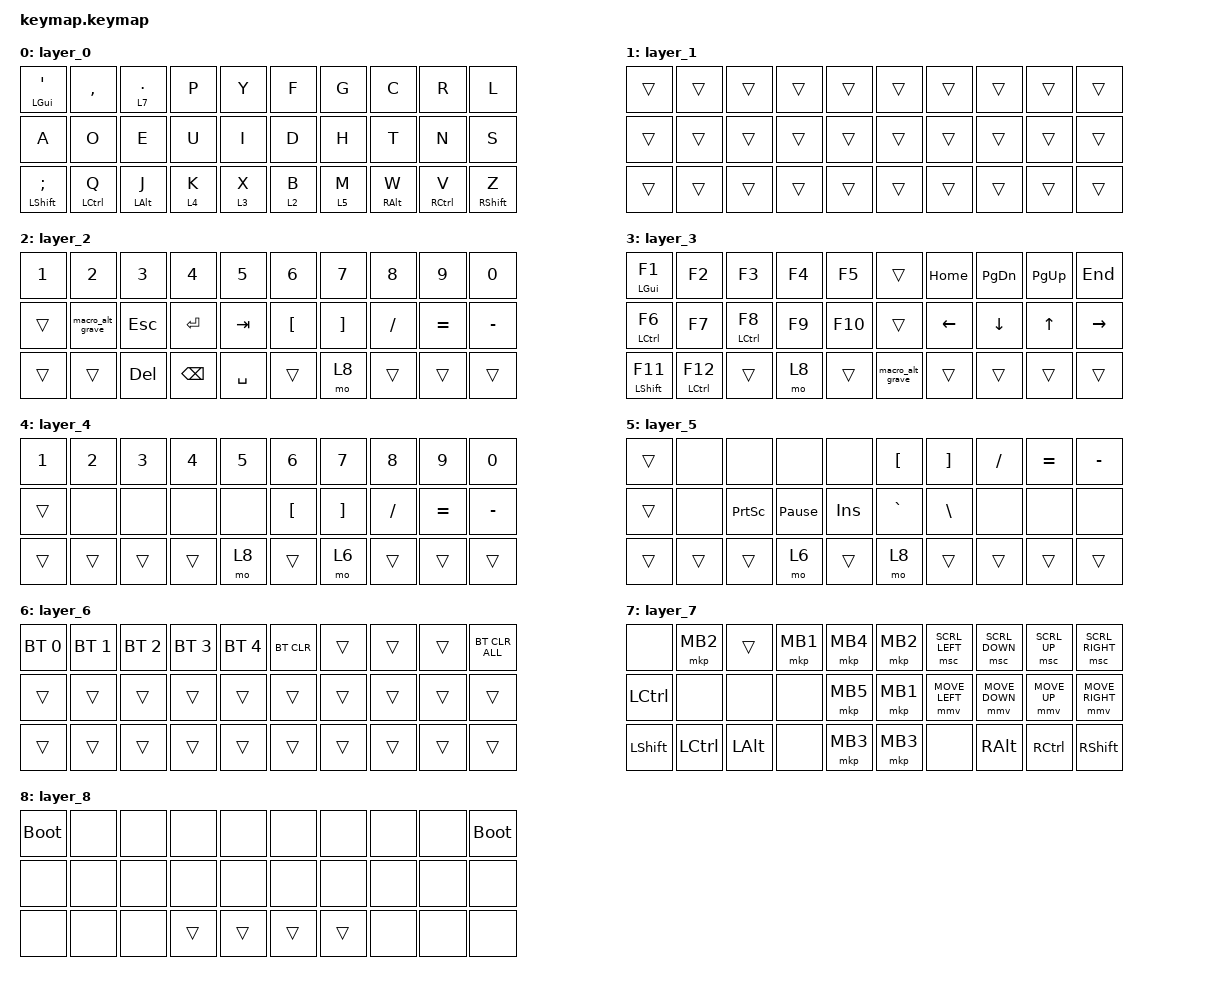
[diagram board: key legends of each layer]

#include <behaviors.dtsi>
#include <dt-bindings/zmk/keys.h>
#include <dt-bindings/zmk/bt.h>
#include <dt-bindings/zmk/pointing.h>

#define ZMK_POINTING_DEFAULT_MOVE_VAL 600  // default: 600
#define ZMK_POINTING_DEFAULT_SCRL_VAL 10   // default: 10

/ {

    behaviors {
        // デフォルトのMod-Tap(&mt)の挙動を上書きし、QMK風の快適な設定に変更します
        mt: mod_tap {
            compatible = "zmk,behavior-hold-tap";
            #binding-cells = <2>;
            
            // --- ここからがカスタマイズ項目です ---

            // タップとホールドを認識する時間。200msに設定。
            tapping-term-ms = <200>;
            
            // 'tap-preferred'フレーバーを選択。
            // これにより、高速でキーを連続入力（ローリング）した際に、
            // ホールド（モディファイア）が誤爆するのを防ぎます。
            // QMKの`IGNORE_MOD_TAP_INTERRUPT`に近い挙動です。
            flavor = "tap-preferred"; 

            // (オプション) この時間内の素早い連続タップは、強制的にタップとして扱います。
            // これにより、スペースキーやエンターキーの連続タップがより確実になります。
            quick-tap-ms = <150>;

            // --- ここまでがカスタマイズ項目です ---

            bindings = <&kp>, <&kp>;
        };

        // 日本語入力のオンオフで、ChromeでAltキーが暴発するための対策マクロ
        macros {
            macro_alt_grave: macro_alt_grave {
                compatible = "zmk,behavior-macro";
                #binding-cells = <0>;
                wait-ms = <5>;
                tap-ms = <5>;
                bindings =
                    <&macro_press &kp LALT>
                    , <&macro_tap &kp GRAVE>
                    , <&macro_release &kp LALT>
                ;
            };
        };
    };

    keymap {
        compatible = "zmk,keymap";

        // base layer (dvorak)
        layer_0 {
            bindings = <
   &mt LGUI QUOT   &kp COMMA    &lt 7 DOT   &kp P     &kp Y           &kp F    &kp G     &kp C        &kp R         &kp L
   &kp A           &kp O        &kp E       &kp U     &kp I           &kp D    &kp H     &kp T        &kp N         &kp S
   &mt LSHIFT SEMI &mt LCTRL Q  &mt LALT J  &lt 4 K   &lt 3 X         &lt 2 B  &lt 5 M   &mt RALT W   &mt RCTRL V   &mt RSHIFT Z

            >;
        };

        // unused
        layer_1 {
            bindings = <
   &trans &trans &trans &trans &trans       &trans &trans &trans &trans &trans 
   &trans &trans &trans &trans &trans       &trans &trans &trans &trans &trans 
   &trans &trans &trans &trans &trans       &trans &trans &trans &trans &trans 
            >;
        };


        // number layer
        layer_2 {
            bindings = <
   &kp N1  &kp N2            &kp N3   &kp N4     &kp N5               &kp N6    &kp N7    &kp N8     &kp N9     &kp N0
   &trans  &macro_alt_grave  &kp ESC  &kp ENTER  &kp TAB              &kp LBKT  &kp RBKT  &kp SLASH  &kp EQUAL  &kp MINUS
   &trans  &trans            &kp DEL  &kp BSPC   &kp SPACE            &trans    &mo 8     &trans     &trans     &trans
            >;
        };

        // function layer
        layer_3 {
            bindings = <
   &mt LGUI F1     &kp F2        &kp F3        &kp F4  &kp F5         &trans            &kp HOME   &kp PG_DN  &kp PG_UP   &kp END
   &mt LCTRL F6    &kp F7        &mt LCTRL F8  &kp F9  &kp F10        &trans            &kp LEFT   &kp DOWN   &kp UP      &kp RIGHT    
   &mt LSHIFT F11  &mt LCTRL F12 &trans        &mo 8   &trans         &macro_alt_grave  &trans     &trans     &trans      &trans
            >;
        };


        // number layer 2
        layer_4 {
            bindings = <
   &kp N1  &kp N2  &kp N3  &kp N4  &kp N5                   &kp N6    &kp N7    &kp N8     &kp N9     &kp N0
   &trans  &none   &none   &none   &none                    &kp LBKT  &kp RBKT  &kp SLASH  &kp EQUAL  &kp MINUS
   &trans  &trans  &trans  &trans  &mo 8                    &trans    &mo 6     &trans     &trans     &trans
            >;
        };

        // misc keys & symbol layer
        layer_5 {
            bindings = <
   &trans  &none   &none      &none            &none                  &kp LBKT  &kp RBKT       &kp SLASH  &kp EQUAL  &kp MINUS
   &trans  &none   &kp PSCRN  &kp PAUSE_BREAK  &kp INS                &kp GRAVE &kp BACKSLASH  &none      &none      &none 
   &trans  &trans  &trans     &mo 6            &trans                 &mo 8     &trans         &trans     &trans     &trans
            >;
        };

        // bluetooth layer
        layer_6 {
            bindings = <
   &bt BT_SEL 0  &bt BT_SEL 1  &bt BT_SEL 2 &bt BT_SEL 3  &bt BT_SEL 4          &bt BT_CLR  &trans  &trans  &trans  &bt BT_CLR_ALL
   &trans        &trans        &trans       &trans        &trans                &trans      &trans  &trans  &trans  &trans
   &trans        &trans        &trans       &trans        &trans                &trans      &trans  &trans  &trans  &trans
            >;
        };

        // mouse layer
        layer_7 {
            bindings = <
   &none       &mkp MB2   &trans    &mkp MB1  &mkp MB4                &mkp MB2  &msc SCRL_LEFT  &msc SCRL_DOWN  &msc SCRL_UP  &msc SCRL_RIGHT
   &kp LCTRL   &none      &none     &none     &mkp MB5                &mkp MB1  &mmv MOVE_LEFT  &mmv MOVE_DOWN  &mmv MOVE_UP  &mmv MOVE_RIGHT
   &kp LSHIFT  &kp LCTRL  &kp LALT  &none     &mkp MB3                &mkp MB3  &none           &kp RALT        &kp RCTRL     &kp RSHIFT
            >;
        };

        // bootloader layer
        layer_8 {
            bindings = <
   &bootloader  &none  &none  &none   &none                 &none   &none   &none  &none  &bootloader
   &none        &none  &none  &none   &none                 &none   &none   &none  &none  &none
   &none        &none  &none  &trans  &trans                &trans  &trans  &none  &none  &none
            >;
        };

    };
};
